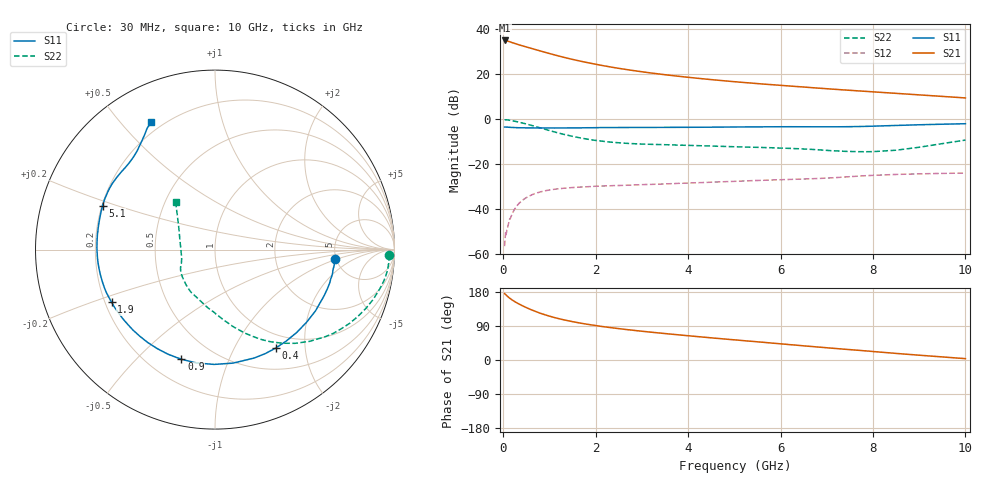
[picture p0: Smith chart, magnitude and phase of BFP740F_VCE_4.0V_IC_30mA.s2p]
! Infineon Technologies  Discrete & RF Semiconductors
! BFP740F
! VCE =  4.0 V,  IC =  30 mA
! Common Emitter S-Parameters:  Oct 2012
# GHz  S  MA  R  50
!  f  S11  S21  S12  S22
! GHz  MAG  ANG  MAG  ANG  MAG  ANG  MAG  ANG
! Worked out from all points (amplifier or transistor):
!   99 points, 30 MHz to 10 GHz, reference 50 ohm
!   highest |S21| = 35.0 dB at 30 MHz (marker M1)
!   |S21| within 3 dB of that: start of sweep to 518.8 MHz
!   unconditionally stable (mu >= 1): 5.375 GHz to end of sweep
!   at 350 MHz: K = 0.21, MSG = 35.2 dB, |S12| = -37.3 dB
!   at 3.5 GHz: K = 0.78, MSG = 24.3 dB, |S12| = -28.8 dB
!   at 10 GHz: K = 1.16, MAG = 14.3 dB, |S12| = -23.9 dB
!   S11 on the Smith chart (normalised r, x): 30 MHz: 4.85, -0.94; 400 MHz: 0.79, -1.49; 900 MHz: 0.33, -0.69; 1.9 GHz: 0.23, -0.23; 5.1 GHz: 0.20, +0.18; 10 GHz: 0.16, +0.61
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0.03  0.6691 -4.6  56.46 175.1  0.0015 53.9  0.968 -1.8
0.07  0.6682 -11.2  55.63 170.6  0.003 84.9  0.9692 -6.0
0.11  0.6641 -17.6  54.09 166.1  0.0046 76.1  0.9584 -10.0
0.15  0.6589 -23.9  52.41 162.2  0.0061 74.3  0.9429 -13.6
0.2  0.6558 -31.3  50.27 157.9  0.0082 71.1  0.9228 -17.7
0.3  0.6485 -45.2  46.56 150.5  0.012 68.8  0.878 -25.2
0.4  0.6444 -58.3  43.38 144.1  0.0152 62.8  0.8302 -32.1
0.5  0.6424 -70.0  40.48 138.3  0.018 58.8  0.7823 -38.4
0.6  0.6405 -80.9  37.85 132.9  0.0204 54.3  0.7336 -44.2
0.8  0.6397 -99.3  33.03 123.5  0.0241 47.6  0.6415 -54.4
0.9  0.6391 -107.0  30.89 119.5  0.0255 44.5  0.5987 -59.0
1.1  0.6386 -120.3  27.11 112.3  0.0276 39.8  0.5237 -66.9
1.3  0.6391 -130.9  23.98 106.3  0.0291 36.6  0.4632 -73.8
1.7  0.6428 -146.9  19.27 96.7  0.0311 32.4  0.3777 -85.6
1.9  0.6465 -153.0  17.5 92.8  0.0318 31.0  0.3487 -91.0
2.6  0.654 -168.7  13.04 81.3  0.0338 28.7  0.2942 -107.0
3.4  0.658 179.0  10.05 71.0  0.036 28.4  0.273 -118.9
4.2  0.6622 168.6  8.152 61.8  0.0387 28.7  0.2584 -126.8
5.1  0.6727 158.7  6.696 52.2  0.0418 29.1  0.2426 -136.1
6.7  0.6783 141.9  5.015 35.4  0.0475 29.5  0.2123 -154.1
8.5  0.7263 124.4  3.76 17.4  0.0591 26.0  0.2045 163.4
10  0.7937 116.6  2.973 3.6  0.0635 20.3  0.3432 129.8
